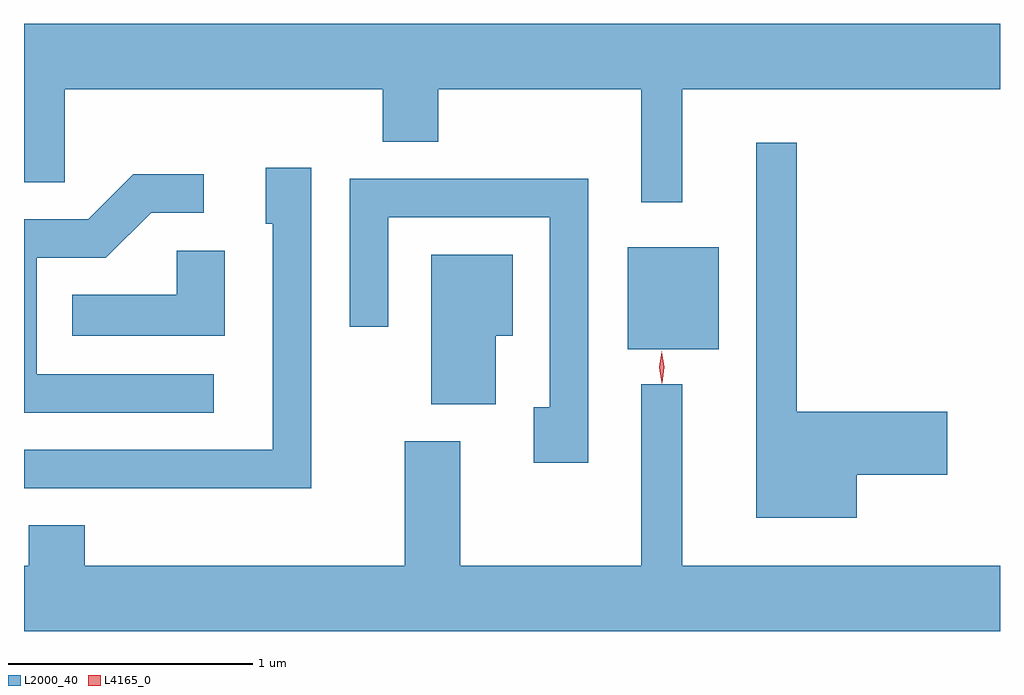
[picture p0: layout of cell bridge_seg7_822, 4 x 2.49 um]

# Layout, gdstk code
import gdstk
lib = gdstk.Library(unit=1e-6, precision=1e-09)
def R(c, l, rs):  # rectangles x0, y0, x1, y1
    for r in rs: c.add(gdstk.rectangle(r[:2], r[2:], *l))
def P(c, l, *ps):  # polygons
    for p in ps: c.add(gdstk.Polygon(p, *l))
L2000_40 = (2000, 40)
L4165_0 = (4165, 0)

bridge_seg7_822 = lib.new_cell('bridge_seg7_822')
R(bridge_seg7_822, L2000_40, [(272.646,1719.911,273.019,1720.329)])
P(bridge_seg7_822, L2000_40, [(272.869,1720.976),(274.171,1720.976),(274.171,1721.244),(270.171,1721.244),(270.171,1720.596),(270.339,1720.596),(270.339,1720.976),(271.641,1720.976),(271.641,1720.761),(271.869,1720.761),(271.869,1720.976),(272.701,1720.976),(272.701,1720.513),(272.869,1720.513)],
  [(273.584,1719.396),(273.954,1719.396),(273.954,1719.654),(273.339,1719.654),(273.339,1720.758),(273.171,1720.758),(273.171,1719.221),(273.584,1719.221)],
  [(271.349,1720.654),(271.161,1720.654),(271.161,1720.426),(271.191,1720.426),(271.191,1719.499),(270.171,1719.499),(270.171,1719.341),(271.349,1719.341)],
  [(270.948,1719.809),(270.224,1719.809),(270.224,1720.286),(270.507,1720.286),(270.692,1720.471),(270.908,1720.471),(270.908,1720.629),(270.619,1720.629),(270.434,1720.444),(270.171,1720.444),(270.171,1719.651),(270.948,1719.651)],
  [(272.484,1720.609),(271.506,1720.609),(271.506,1720.003),(271.664,1720.003),(271.664,1720.451),(272.326,1720.451),(272.326,1719.674),(272.261,1719.674),(272.261,1719.446),(272.484,1719.446)],
  [(270.994,1720.314),(270.796,1720.314),(270.796,1720.134),(270.368,1720.134),(270.368,1719.966),(270.994,1719.966)],
  [(272.104,1719.966),(272.174,1719.966),(272.174,1720.299),(271.841,1720.299),(271.841,1719.686),(272.104,1719.686)],
  [(274.171,1719.024),(272.869,1719.024),(272.869,1719.768),(272.701,1719.768),(272.701,1719.024),(271.959,1719.024),(271.959,1719.534),(271.731,1719.534),(271.731,1719.024),(270.419,1719.024),(270.419,1719.189),(270.191,1719.189),(270.191,1719.024),(270.171,1719.024),(270.171,1718.756),(274.171,1718.756)])
P(bridge_seg7_822, L4165_0, [(272.785,1719.772),(272.784,1719.773),(272.775,1719.837),(272.784,1719.901),(272.784,1719.902),(272.785,1719.901),(272.795,1719.837),(272.786,1719.773)])

lib.write_gds('bridge_seg7_822.gds')
